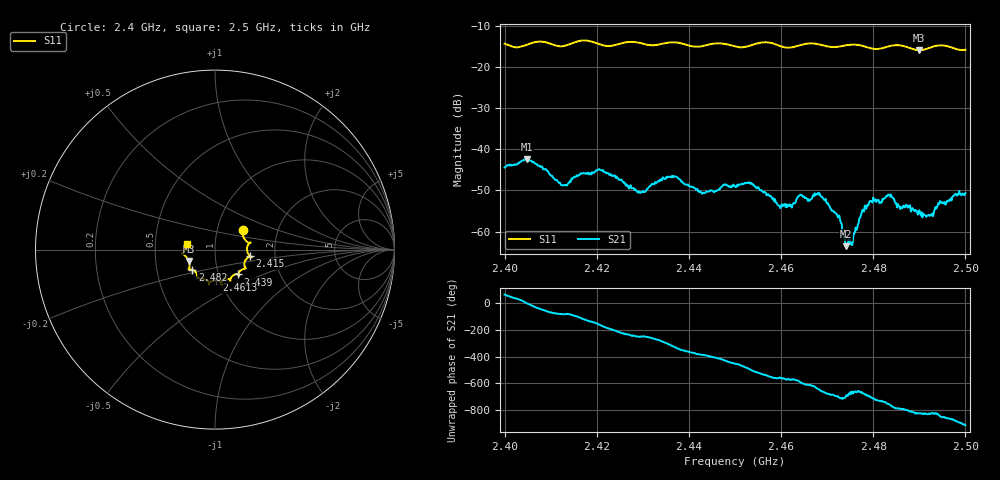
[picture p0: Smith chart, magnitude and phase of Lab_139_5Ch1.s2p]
# Hz S RI R 50
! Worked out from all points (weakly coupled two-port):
!   601 points, 2.4 GHz to 2.5 GHz, reference 50 ohm
!   highest |S21| = -42.44 dB at 2.4048 GHz (marker M1); lowest = -63.6 dB at 2.4742 GHz (marker M2)
!   lowest |S11| = -15.9 dB at 2.49 GHz (marker M3), VSWR 1.38, Z = 37 - j4.82 ohm
!   |S11| at or under -10 dB: start of sweep to end of sweep
!   S12 and S22 are empty: the file has one direction only
!   S11 on the Smith chart (normalised r, x): 2.4 GHz: 1.33, +0.31; 2.415 GHz: 1.48, -0.11; 2.439 GHz: 1.24, -0.36; 2.4613 GHz: 0.96, -0.34; 2.482 GHz: 0.76, -0.17; 2.5 GHz: 0.73, +0.05
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2.4e9  0.1559 0.1119  0.00253 0.00545  0 0  0 0
2.404833e9  0.1812 0.0411  0.00755 -9.37e-05  0 0  0 0
2.412667e9  0.1785 -0.00499  0.000442 -0.00361  0 0  0 0
2.415e9  0.1935 -0.0356  -0.000279 -0.00452  0 0  0 0
2.416667e9  0.2042 -0.0427  -0.00204 -0.00463  0 0  0 0
2.420833e9  0.1803 -0.0471  -0.00542 -0.00136  0 0  0 0
2.429333e9  0.1643 -0.1065  -0.000934 0.00286  0 0  0 0
2.433333e9  0.1319 -0.1322  0.000315 0.00407  0 0  0 0
2.439e9  0.1284 -0.1384  0.00377 0.000243  0 0  0 0
2.443167e9  0.0899 -0.1562  0.0026 -0.00135  0 0  0 0
2.45e9  0.069 -0.1633  -0.000205 -0.00355  0 0  0 0
2.453333e9  0.0375 -0.178  -0.00276 -0.00263  0 0  0 0
2.461333e9  0.00728 -0.171  -0.00172 0.000993  0 0  0 0
2.466667e9  -0.0335 -0.1902  -0.000532 0.00245  0 0  0 0
2.4685e9  -0.0341 -0.1831  0.00103 0.00254  0 0  0 0
2.472167e9  -0.0678 -0.1612  0.00147 0.000603  0 0  0 0
2.474167e9  -0.0877 -0.1611  0.000573 0.000335  0 0  0 0
2.479167e9  -0.1018 -0.1362  0.00214 0.000801  0 0  0 0
2.482e9  -0.1266 -0.1121  0.00243 -0.000593  0 0  0 0
2.483333e9  -0.1396 -0.1098  0.00232 -0.0016  0 0  0 0
2.49e9  -0.1463 -0.0636  -0.000456 -0.00175  0 0  0 0
2.5e9  -0.1583 0.033  -0.00283 0.000777  0 0  0 0
